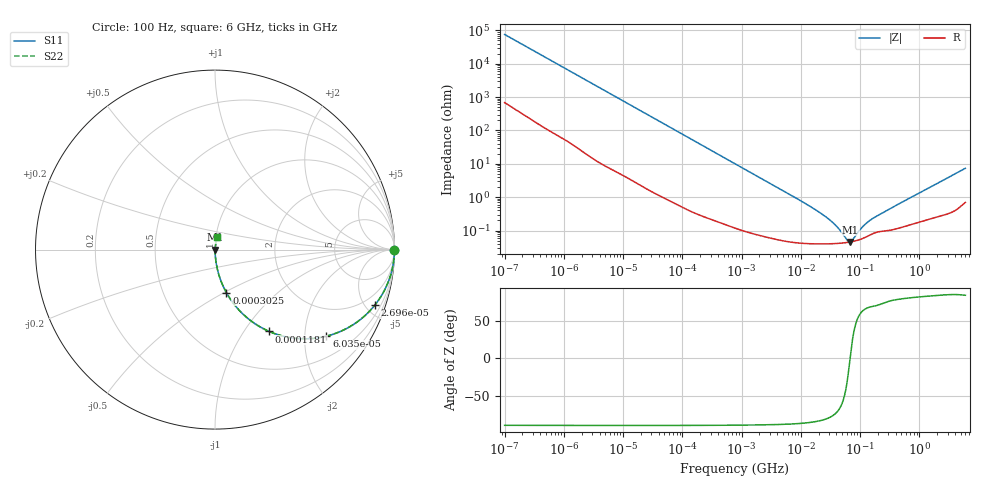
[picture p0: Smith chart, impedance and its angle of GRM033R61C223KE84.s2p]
!Murata Part Number: GRM033R61C223KE84
!These Parameters are Measured in Series Mode Connection
!Data Generated on Mar 30, 2021
!  o--ll--o
!Port1  Port2
!  o------o
!Operation Temp=25[degC], DC Bias Voltage=0[V]
!Freq. Start=100[Hz] Stop=6[GHz] 401[Steps]
# Hz S RI R 50
!Freq.(Hz) S11(Real) S11(Imag) S21(Real) S21(Imag) S12(Real) S12(Imag) S22(Real) S22(Imag)
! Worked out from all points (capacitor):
!   401 points, 100 Hz to 6 GHz, reference 50 ohm
!   read as one part in series: C = 21.1 nF near 109 Hz
!   lowest |Z| = 45.3 mohm at 68.17 MHz (marker M1)
!   series resonance near 67.81 MHz, so ESL is about 260 pH
!   S11 on the Smith chart (normalised r, x): 100 Hz: open; 26.96 kHz: 1.03, -5.72; 60.35 kHz: 1.02, -2.56; 118.1 kHz: 1.01, -1.31; 302.5 kHz: 1.00, -0.51; 6 GHz: 1.01, +0.15
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100  1 -0.00133  1.38e-05 0.00133  1.38e-05 0.00133  1 -0.00133
2008  0.9991 -0.0263  0.000856 0.0263  0.000856 0.0263  0.9991 -0.0263
8801  0.9864 -0.113  0.0136 0.113  0.0136 0.113  0.9864 -0.113
26957  0.8896 -0.3105  0.1104 0.3105  0.1104 0.3105  0.8896 -0.3105
40335  0.7841 -0.4085  0.2159 0.4085  0.2159 0.4085  0.7841 -0.4085
60352  0.6206 -0.4822  0.3794 0.4822  0.3794 0.4822  0.6206 -0.4822
82567  0.4679 -0.4958  0.5321 0.4958  0.5321 0.4958  0.4679 -0.4958
118133  0.302 -0.4559  0.698 0.4559  0.698 0.4559  0.302 -0.4559
184852  0.1516 -0.3551  0.8484 0.3551  0.8484 0.3551  0.1516 -0.3551
302498  0.0637 -0.2401  0.9363 0.2401  0.9363 0.2401  0.0637 -0.2401
774597  0.0112 -0.0996  0.9888 0.0996  0.9888 0.0996  0.0112 -0.0996
2481164  0.00165 -0.0316  0.9984 0.0316  0.9984 0.0316  0.00165 -0.0316
1.555665e7  0.000423 -0.00482  0.9996 0.00482  0.9996 0.00482  0.000423 -0.00482
3.330331e7  0.000405 -0.0018  0.9996 0.0018  0.9996 0.0018  0.000405 -0.0018
4.35672e7  0.000413 -0.00106  0.9996 0.00106  0.9996 0.00106  0.000413 -0.00106
5.960426e7  0.000436 -0.0003  0.9996 0.0003  0.9996 0.0003  0.000436 -0.0003
6.817316e7  0.000453 1.27e-05  0.9995 -1.27e-05  0.9995 -1.27e-05  0.000453 1.27e-05
7.455971e7  0.000467 0.00022  0.9995 -0.00022  0.9995 -0.00022  0.000467 0.00022
1.020051e8  0.000547 0.000962  0.9995 -0.000962  0.9995 -0.000962  0.000547 0.000962
1.334425e8  0.000672 0.00163  0.9993 -0.00163  0.9993 -0.00163  0.000672 0.00163
3.124326e8  0.00102 0.00425  0.999 -0.00425  0.999 -0.00425  0.00102 0.00425
6e9  0.0121 0.0715  0.9879 -0.0715  0.9879 -0.0715  0.0121 0.0715
